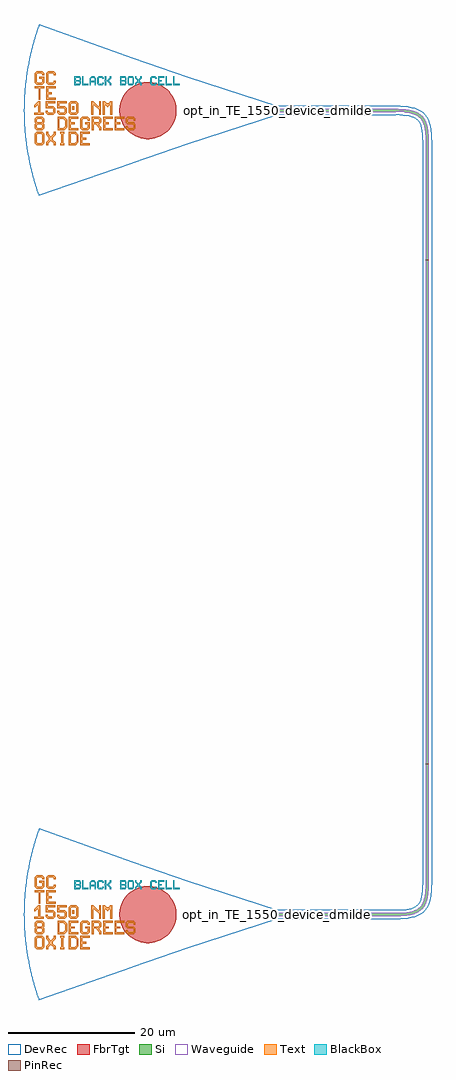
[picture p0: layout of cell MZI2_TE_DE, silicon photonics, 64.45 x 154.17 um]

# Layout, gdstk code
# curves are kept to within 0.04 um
import gdstk
lib = gdstk.Library(unit=1e-6, precision=1e-09)
def R(c, l, rs):  # rectangles x0, y0, x1, y1
    for r in rs: c.add(gdstk.rectangle(r[:2], r[2:], *l))
def P(c, l, *ps):  # polygons
    for p in ps: c.add(gdstk.Polygon(p, *l))
Si = (1, 0)
PinRec = (1, 10)
Waveguide = (1, 99)
Text = (10, 0)
DevRec = (68, 0)
FbrTgt = (81, 0)
BlackBox = (998, 0)

waveguide_16 = lib.new_cell('Waveguide$16')
R(waveguide_16, Si, [(64.775,-39.8,65.275,39.8)])
R(waveguide_16, Waveguide, [(64.775,-39.8,65.275,39.8)])
R(waveguide_16, DevRec, [(64.275,-39.8,65.775,39.8)])
waveguide_16.add(gdstk.FlexPath([(65.025,-39.79),(65.025,-39.81)], 0.5, ends="flush", simple_path=True, layer=1, datatype=10))  # PinRec
waveguide_16.add(gdstk.FlexPath([(65.025,39.79),(65.025,39.81)], 0.5, ends="flush", simple_path=True, layer=1, datatype=10))  # PinRec
waveguide_16.add(gdstk.Label('opt1', (65.025,-39.8), layer=1, texttype=10))
waveguide_16.add(gdstk.Label('opt2', (65.025,39.8), layer=1, texttype=10))
waveguide_16.add(gdstk.Label('Lumerical_INTERCONNECT_library=Design kits/EBeam', (64.925,-39.8), layer=68, texttype=0))
waveguide_16.add(gdstk.Label('Component=ebeam_wg_integral_1550', (65.125,-39.8), layer=68, texttype=0))
waveguide_16.add(gdstk.Label('cellName=Waveguide', (65.225,-39.8), layer=68, texttype=0))
waveguide_16.add(gdstk.Label('Spice_param:wg_length=0.000079600 wg_width=5e-07 points="[[65.025,-39.8],[65.025,39.8]]" radius=5e-06', (65.025,-39.8), layer=68, texttype=0))
waveguide_16.add(gdstk.Label('Length=79.600 (microns)', (64.425,-39.8), layer=68, texttype=0))
waveguide_16.add(gdstk.Label('waveguide_type=Strip TE 1550 nm, w=500 nm', (64.825,-39.8), layer=68, texttype=0))

text = lib.new_cell('TEXT')
P(text, BlackBox, [(0,0),(0,1.4),(0.8,1.4),(1,1.2),(0.2,1.2),(0.2,0.8),(0.7,0.8),(0.8,0.9),(0.8,1.1),(0.7,1.2),(1,1.2),(1,0.8),(0.9,0.7),(1,0.6),(0.2,0.6),(0.2,0.2),(0.7,0.2),(0.8,0.3),(0.8,0.5),(0.7,0.6),(1,0.6),(1,0.2),(0.8,0)],
  [(1.2,0),(1.2,1.4),(1.4,1.4),(1.4,0.2),(2.2,0.2),(2.2,0)],
  [(2.4,0),(2.4,1.1),(2.7,1.4),(3.1,1.4),(3.3,1.2),(2.8,1.2),(2.6,1),(2.6,0.7),(3.2,0.7),(3.2,1),(3,1.2),(3.3,1.2),(3.4,1.1),(3.4,0),(3.2,0),(3.2,0.5),(2.6,0.5),(2.6,0)],
  [(3.8,0),(3.6,0.2),(3.6,1.2),(3.8,1.4),(4.4,1.4),(4.6,1.2),(4.6,1),(4.4,1),(4.4,1.1),(4.3,1.2),(3.9,1.2),(3.8,1.1),(3.8,0.3),(3.9,0.2),(4.3,0.2),(4.4,0.3),(4.4,0.4),(4.6,0.4),(4.6,0.2),(4.4,0)],
  [(4.8,0),(4.8,1.4),(5,1.4),(5,0.8),(5.2,0.8),(5.6,1.2),(5.6,1.4),(5.8,1.4),(5.8,1.1),(5.4,0.7),(5.8,0.3),(5.8,0),(5.6,0),(5.6,0.2),(5.2,0.6),(5,0.6),(5,0)],
  [(7.2,0),(7.2,1.4),(8,1.4),(8.2,1.2),(7.4,1.2),(7.4,0.8),(7.9,0.8),(8,0.9),(8,1.1),(7.9,1.2),(8.2,1.2),(8.2,0.8),(8.1,0.7),(8.2,0.6),(7.4,0.6),(7.4,0.2),(7.9,0.2),(8,0.3),(8,0.5),(7.9,0.6),(8.2,0.6),(8.2,0.2),(8,0)],
  [(8.6,0),(8.4,0.2),(8.4,1.2),(8.6,1.4),(9.2,1.4),(9.4,1.2),(9.4,0.7),(9.2,0.7),(9.2,1.1),(9.1,1.2),(8.7,1.2),(8.6,1.1),(8.6,0.3),(8.7,0.2),(9.1,0.2),(9.2,0.3),(9.2,0.7),(9.4,0.7),(9.4,0.2),(9.2,0)],
  [(9.6,0),(9.6,0.3),(9.9,0.6),(9.9,0.8),(9.6,1.1),(9.6,1.4),(9.8,1.4),(9.8,1.2),(10.1,0.9),(10.4,1.2),(10.4,1.4),(10.6,1.4),(10.6,1.1),(10.3,0.8),(10.3,0.6),(10.6,0.3),(10.6,0),(10.4,0),(10.4,0.2),(10.1,0.5),(9.8,0.2),(9.8,0)],
  [(12.2,0),(12,0.2),(12,1.2),(12.2,1.4),(12.8,1.4),(13,1.2),(13,1),(12.8,1),(12.8,1.1),(12.7,1.2),(12.3,1.2),(12.2,1.1),(12.2,0.3),(12.3,0.2),(12.7,0.2),(12.8,0.3),(12.8,0.4),(13,0.4),(13,0.2),(12.8,0)],
  [(13.2,0),(13.2,1.4),(14.2,1.4),(14.2,1.2),(13.4,1.2),(13.4,0.8),(13.8,0.8),(13.8,0.6),(13.4,0.6),(13.4,0.2),(14.2,0.2),(14.2,0)],
  [(14.4,0),(14.4,1.4),(14.6,1.4),(14.6,0.2),(15.4,0.2),(15.4,0)],
  [(15.6,0),(15.6,1.4),(15.8,1.4),(15.8,0.2),(16.6,0.2),(16.6,0)])

gc_te_1550_8degoxide_bb = lib.new_cell('GC_TE_1550_8degOxide_BB')
R(gc_te_1550_8degoxide_bb, Text, [(-32.313,0.092,-32.013,0.692)])
P(gc_te_1550_8degoxide_bb, Text, [(-37.67,1.71),(-37.67,3.51),(-38.27,3.51),(-38.27,3.81),(-36.77,3.81),(-36.77,3.51),(-37.37,3.51),(-37.37,1.71)],
  [(-37.97,-5.49),(-38.27,-5.19),(-38.27,-3.69),(-37.97,-3.39),(-37.07,-3.39),(-36.77,-3.69),(-36.77,-4.44),(-37.07,-4.44),(-37.07,-3.84),(-37.22,-3.69),(-37.82,-3.69),(-37.97,-3.84),(-37.97,-5.04),(-37.82,-5.19),(-37.22,-5.19),(-37.07,-5.04),(-37.07,-4.44),(-36.77,-4.44),(-36.77,-5.19),(-37.07,-5.49)],
  [(-31.07,-5.49),(-31.07,-3.39),(-29.57,-3.39),(-29.57,-3.69),(-30.77,-3.69),(-30.77,-4.29),(-30.17,-4.29),(-30.17,-4.59),(-30.77,-4.59),(-30.77,-5.19),(-29.57,-5.19),(-29.57,-5.49)],
  [(-32.87,-3.09),(-32.87,-0.99),(-31.37,-0.99),(-31.37,-1.29),(-32.57,-1.29),(-32.57,-1.89),(-31.97,-1.89),(-31.97,-2.19),(-32.57,-2.19),(-32.57,-2.79),(-31.37,-2.79),(-31.37,-3.09)],
  [(-27.47,-3.09),(-27.47,-0.99),(-25.97,-0.99),(-25.97,-1.29),(-27.17,-1.29),(-27.17,-1.89),(-26.57,-1.89),(-26.57,-2.19),(-27.17,-2.19),(-27.17,-2.79),(-25.97,-2.79),(-25.97,-3.09)],
  [(-25.67,-3.09),(-25.67,-0.99),(-24.17,-0.99),(-24.17,-1.29),(-25.37,-1.29),(-25.37,-1.89),(-24.77,-1.89),(-24.77,-2.19),(-25.37,-2.19),(-25.37,-2.79),(-24.17,-2.79),(-24.17,-3.09)],
  [(-36.47,1.71),(-36.47,3.81),(-34.97,3.81),(-34.97,3.51),(-36.17,3.51),(-36.17,2.91),(-35.57,2.91),(-35.57,2.61),(-36.17,2.61),(-36.17,2.01),(-34.97,2.01),(-34.97,1.71)],
  [(-29.313,-0.658),(-29.313,1.442),(-29.013,1.442),(-28.263,0.692),(-28.113,0.692),(-28.113,1.442),(-27.813,1.442),(-27.813,-0.658),(-28.113,-0.658),(-28.113,0.092),(-28.863,0.842),(-29.013,0.842),(-29.013,-0.658)],
  [(-34.22,-5.49),(-34.22,-5.19),(-34.07,-5.19),(-34.07,-3.69),(-34.22,-3.69),(-34.22,-3.39),(-33.62,-3.39),(-33.62,-3.69),(-33.77,-3.69),(-33.77,-5.19),(-33.62,-5.19),(-33.62,-5.49)],
  [(-36.17,4.11),(-36.47,4.41),(-36.47,5.91),(-36.17,6.21),(-35.27,6.21),(-34.97,5.91),(-34.97,5.61),(-35.27,5.61),(-35.27,5.76),(-35.42,5.91),(-36.02,5.91),(-36.17,5.76),(-36.17,4.56),(-36.02,4.41),(-35.42,4.41),(-35.27,4.56),(-35.27,4.71),(-34.97,4.71),(-34.97,4.41),(-35.27,4.11)],
  [(-27.513,-0.658),(-27.513,1.442),(-27.213,1.442),(-26.913,1.142),(-26.613,1.142),(-26.313,1.442),(-26.013,1.442),(-26.013,-0.658),(-26.313,-0.658),(-26.313,0.842),(-26.463,0.842),(-26.763,0.542),(-27.063,0.842),(-27.213,0.842),(-27.213,-0.658)],
  [(-32.613,-0.658),(-32.913,-0.358),(-32.913,1.142),(-32.613,1.442),(-31.713,1.442),(-31.413,1.142),(-32.463,1.142),(-32.613,0.992),(-32.613,-0.208),(-32.463,-0.358),(-31.863,-0.358),(-31.713,-0.208),(-31.713,0.992),(-31.863,1.142),(-31.413,1.142),(-31.413,-0.358),(-31.713,-0.658)],
  [(-32.87,-5.49),(-32.87,-3.39),(-31.82,-3.39),(-31.52,-3.69),(-32.57,-3.69),(-32.57,-5.19),(-31.97,-5.19),(-31.67,-4.89),(-31.67,-3.99),(-31.97,-3.69),(-31.52,-3.69),(-31.37,-3.84),(-31.37,-5.04),(-31.82,-5.49)],
  [(-34.67,-3.09),(-34.67,-0.99),(-33.62,-0.99),(-33.32,-1.29),(-34.37,-1.29),(-34.37,-2.79),(-33.77,-2.79),(-33.47,-2.49),(-33.47,-1.59),(-33.77,-1.29),(-33.32,-1.29),(-33.17,-1.44),(-33.17,-2.64),(-33.62,-3.09)],
  [(-23.57,-3.09),(-23.87,-2.79),(-23.87,-2.49),(-23.57,-2.49),(-23.57,-2.64),(-23.42,-2.79),(-22.82,-2.79),(-22.67,-2.64),(-22.67,-2.34),(-22.82,-2.19),(-23.57,-2.19),(-23.87,-1.89),(-23.87,-1.29),(-23.57,-0.99),(-22.67,-0.99),(-22.37,-1.29),(-22.37,-1.59),(-22.67,-1.59),(-22.67,-1.44),(-22.82,-1.29),(-23.42,-1.29),(-23.57,-1.44),(-23.57,-1.74),(-23.42,-1.89),(-22.67,-1.89),(-22.37,-2.19),(-22.37,-2.79),(-22.67,-3.09)],
  [(-36.213,-0.658),(-36.513,-0.358),(-36.513,-0.058),(-36.213,-0.058),(-36.213,-0.208),(-36.063,-0.358),(-35.463,-0.358),(-35.313,-0.208),(-35.313,0.242),(-35.463,0.392),(-36.513,0.392),(-36.513,1.442),(-35.013,1.442),(-35.013,1.142),(-36.213,1.142),(-36.213,0.692),(-35.313,0.692),(-35.013,0.392),(-35.013,-0.358),(-35.313,-0.658)],
  [(-34.413,-0.658),(-34.713,-0.358),(-34.713,-0.058),(-34.413,-0.058),(-34.413,-0.208),(-34.263,-0.358),(-33.663,-0.358),(-33.513,-0.208),(-33.513,0.242),(-33.663,0.392),(-34.713,0.392),(-34.713,1.442),(-33.213,1.442),(-33.213,1.142),(-34.413,1.142),(-34.413,0.692),(-33.513,0.692),(-33.213,0.392),(-33.213,-0.358),(-33.513,-0.658)],
  [(-37.97,-3.09),(-38.27,-2.79),(-38.27,-2.19),(-38.12,-2.04),(-38.27,-1.89),(-38.27,-1.29),(-37.97,-0.99),(-37.07,-0.99),(-36.77,-1.29),(-37.82,-1.29),(-37.97,-1.44),(-37.97,-1.74),(-37.82,-1.89),(-37.22,-1.89),(-37.07,-1.74),(-37.07,-1.44),(-37.22,-1.29),(-36.77,-1.29),(-36.77,-1.89),(-36.92,-2.04),(-36.77,-2.19),(-37.82,-2.19),(-37.97,-2.34),(-37.97,-2.64),(-37.82,-2.79),(-37.22,-2.79),(-37.07,-2.64),(-37.07,-2.34),(-37.22,-2.19),(-36.77,-2.19),(-36.77,-2.79),(-37.07,-3.09)],
  [(-38.313,-0.658),(-38.313,-0.358),(-37.713,-0.358),(-37.713,0.842),(-37.863,0.842),(-38.163,0.542),(-38.313,0.542),(-38.313,0.842),(-37.713,1.442),(-37.413,1.442),(-37.413,-0.358),(-36.813,-0.358),(-36.813,-0.658)],
  [(-36.47,-5.49),(-36.47,-5.04),(-36.02,-4.59),(-36.02,-4.29),(-36.47,-3.84),(-36.47,-3.39),(-36.17,-3.39),(-36.17,-3.69),(-35.72,-4.14),(-35.27,-3.69),(-35.27,-3.39),(-34.97,-3.39),(-34.97,-3.84),(-35.42,-4.29),(-35.42,-4.59),(-34.97,-5.04),(-34.97,-5.49),(-35.27,-5.49),(-35.27,-5.19),(-35.72,-4.74),(-36.17,-5.19),(-36.17,-5.49)],
  [(-30.77,-3.09),(-31.07,-2.79),(-31.07,-1.29),(-30.77,-0.99),(-29.87,-0.99),(-29.57,-1.29),(-29.57,-1.59),(-29.87,-1.59),(-29.87,-1.44),(-30.02,-1.29),(-30.62,-1.29),(-30.77,-1.44),(-30.77,-2.64),(-30.62,-2.79),(-30.02,-2.79),(-29.87,-2.64),(-29.87,-2.19),(-30.32,-2.19),(-30.32,-1.89),(-29.57,-1.89),(-29.57,-2.79),(-29.87,-3.09)],
  [(-37.97,4.11),(-38.27,4.41),(-38.27,5.91),(-37.97,6.21),(-37.07,6.21),(-36.77,5.91),(-36.77,5.61),(-37.07,5.61),(-37.07,5.76),(-37.22,5.91),(-37.82,5.91),(-37.97,5.76),(-37.97,4.56),(-37.82,4.41),(-37.22,4.41),(-37.07,4.56),(-37.07,5.01),(-37.52,5.01),(-37.52,5.31),(-36.77,5.31),(-36.77,4.41),(-37.07,4.11)],
  [(-29.27,-3.09),(-29.27,-0.99),(-28.07,-0.99),(-27.77,-1.29),(-28.97,-1.29),(-28.97,-1.89),(-28.22,-1.89),(-28.07,-1.74),(-28.07,-1.44),(-28.22,-1.29),(-27.77,-1.29),(-27.77,-1.89),(-28.07,-2.19),(-28.07,-2.34),(-27.77,-2.64),(-27.77,-3.09),(-28.07,-3.09),(-28.07,-2.79),(-28.67,-2.19),(-28.97,-2.19),(-28.97,-3.09)])
P(gc_te_1550_8degoxide_bb, DevRec, [(-37.607,-13.5),(-38.627,-10.245),(-39.378,-6.832),(-39.647,-5.058),(-39.835,-3.274),(-39.969,0.224),(-39.812,3.541),(-39.331,7.097),(-38.557,10.505),(-37.546,13.669),(-22.8,8.353),(-14.109,5.36),(0,0.75),(0,-0.75),(-14.109,-5.36)])
P(gc_te_1550_8degoxide_bb, FbrTgt, [(-20.621,-4.5),(-21.495,-4.37),(-22.326,-4.073),(-23.084,-3.619),(-23.738,-3.026),(-24.264,-2.316),(-24.642,-1.518),(-24.857,-0.661),(-24.9,0.221),(-24.77,1.095),(-24.473,1.926),(-24.019,2.684),(-23.426,3.338),(-22.716,3.864),(-21.918,4.242),(-21.061,4.457),(-20.179,4.5),(-19.305,4.37),(-18.474,4.073),(-17.716,3.619),(-17.062,3.026),(-16.536,2.316),(-16.158,1.518),(-15.943,0.661),(-15.9,-0.221),(-16.03,-1.095),(-16.327,-1.926),(-16.781,-2.684),(-17.374,-3.338),(-18.084,-3.864),(-18.882,-4.242),(-19.739,-4.457)])
gc_te_1550_8degoxide_bb.add(gdstk.FlexPath([(-0.01,0),(0.01,0)], 0.5, ends="flush", simple_path=True, layer=1, datatype=10))  # PinRec
gc_te_1550_8degoxide_bb.add(gdstk.Reference(text, (-32,4)))
gc_te_1550_8degoxide_bb.add(gdstk.Label('opt1', (0,0), layer=1, texttype=10))
gc_te_1550_8degoxide_bb.add(gdstk.Label('Component=GC_TE_1550_8degOxide_BB', (-28,-5), layer=68, texttype=0))

waveguide_4 = lib.new_cell('Waveguide$4')
P(waveguide_4, Si, [(64.775,39.8),(64.758,59.245),(64.663,60.305),(64.472,61.157),(64.235,61.719),(63.848,62.239),(63.426,62.568),(62.89,62.821),(62.222,63),(61.232,63.127),(41.295,63.166),(41.295,63.666),(60.877,63.648),(61.989,63.547),(62.919,63.338),(63.686,62.996),(64.202,62.593),(64.606,62.076),(64.948,61.309),(65.157,60.379),(65.266,59.063),(65.275,39.8)])
P(waveguide_4, Waveguide, [(64.775,39.8),(64.758,59.245),(64.663,60.305),(64.472,61.157),(64.235,61.719),(63.848,62.239),(63.426,62.568),(62.89,62.821),(62.222,63),(61.232,63.127),(41.295,63.166),(41.295,63.666),(60.877,63.648),(61.989,63.547),(62.919,63.338),(63.686,62.996),(64.202,62.593),(64.606,62.076),(64.948,61.309),(65.157,60.379),(65.266,59.063),(65.275,39.8)])
P(waveguide_4, DevRec, [(64.275,39.8),(64.265,59.065),(64.1,60.609),(63.88,61.311),(63.583,61.791),(63.184,62.13),(62.601,62.39),(61.77,62.568),(60.675,62.655),(41.295,62.666),(41.295,64.166),(60.038,64.166),(61.376,64.119),(62.535,63.956),(63.535,63.638),(64.375,63.113),(64.723,62.765),(65.014,62.366),(65.43,61.443),(65.664,60.368),(65.765,59.117),(65.775,39.8)])
waveguide_4.add(gdstk.FlexPath([(65.025,39.81),(65.025,39.79)], 0.5, ends="flush", simple_path=True, layer=1, datatype=10))  # PinRec
waveguide_4.add(gdstk.FlexPath([(41.305,63.416),(41.285,63.416)], 0.5, ends="flush", simple_path=True, layer=1, datatype=10))  # PinRec
waveguide_4.add(gdstk.Label('opt1', (65.025,39.8), layer=1, texttype=10))
waveguide_4.add(gdstk.Label('opt2', (41.295,63.416), layer=1, texttype=10))
waveguide_4.add(gdstk.Label('Lumerical_INTERCONNECT_library=Design kits/EBeam', (64.925,39.8), layer=68, texttype=0))
waveguide_4.add(gdstk.Label('Component=ebeam_wg_integral_1550', (65.125,39.8), layer=68, texttype=0))
waveguide_4.add(gdstk.Label('cellName=Waveguide', (65.225,39.8), layer=68, texttype=0))
waveguide_4.add(gdstk.Label('Spice_param:wg_length=0.000045794 wg_width=5e-07 points="[[65.025,39.8],[65.025,63.416],[41.295,63.416]]" radius=5e-06', (65.025,39.8), layer=68, texttype=0))
waveguide_4.add(gdstk.Label('Length=45.794 (microns)', (64.425,39.8), layer=68, texttype=0))
waveguide_4.add(gdstk.Label('waveguide_type=Strip TE 1550 nm, w=500 nm', (64.825,39.8), layer=68, texttype=0))

waveguide_5 = lib.new_cell('Waveguide$5')
P(waveguide_5, Si, [(41.295,-63.834),(41.295,-63.334),(61.231,-63.296),(62.221,-63.169),(62.889,-62.99),(63.425,-62.737),(63.848,-62.407),(64.177,-61.985),(64.43,-61.449),(64.609,-60.781),(64.736,-59.791),(64.775,-39.8),(65.275,-39.8),(65.257,-59.436),(65.156,-60.548),(64.947,-61.478),(64.605,-62.245),(64.202,-62.761),(63.685,-63.165),(62.918,-63.507),(61.988,-63.716),(60.876,-63.817)])
P(waveguide_5, Waveguide, [(41.295,-63.834),(41.295,-63.334),(61.231,-63.296),(62.221,-63.169),(62.889,-62.99),(63.425,-62.737),(63.848,-62.407),(64.177,-61.985),(64.43,-61.449),(64.609,-60.781),(64.736,-59.791),(64.775,-39.8),(65.275,-39.8),(65.257,-59.436),(65.156,-60.548),(64.947,-61.478),(64.605,-62.245),(64.202,-62.761),(63.685,-63.165),(62.918,-63.507),(61.988,-63.716),(60.876,-63.817)])
P(waveguide_5, DevRec, [(41.295,-64.334),(41.295,-62.834),(60.674,-62.824),(61.769,-62.737),(62.6,-62.559),(63.183,-62.299),(63.582,-61.96),(63.879,-61.48),(64.099,-60.778),(64.264,-59.234),(64.275,-39.8),(65.775,-39.8),(65.764,-59.286),(65.663,-60.537),(65.429,-61.612),(65.013,-62.535),(64.722,-62.934),(64.374,-63.282),(63.534,-63.807),(62.534,-64.125),(61.375,-64.288),(60.025,-64.334)])
waveguide_5.add(gdstk.FlexPath([(41.305,-63.584),(41.285,-63.584)], 0.5, ends="flush", simple_path=True, layer=1, datatype=10))  # PinRec
waveguide_5.add(gdstk.FlexPath([(65.025,-39.81),(65.025,-39.79)], 0.5, ends="flush", simple_path=True, layer=1, datatype=10))  # PinRec
waveguide_5.add(gdstk.Label('opt1', (41.295,-63.584), layer=1, texttype=10))
waveguide_5.add(gdstk.Label('opt2', (65.025,-39.8), layer=1, texttype=10))
waveguide_5.add(gdstk.Label('Lumerical_INTERCONNECT_library=Design kits/EBeam', (41.295,-63.684), layer=68, texttype=0))
waveguide_5.add(gdstk.Label('Component=ebeam_wg_integral_1550', (41.295,-63.484), layer=68, texttype=0))
waveguide_5.add(gdstk.Label('cellName=Waveguide', (41.295,-63.384), layer=68, texttype=0))
waveguide_5.add(gdstk.Label('Spice_param:wg_length=0.000045962 wg_width=5e-07 points="[[41.295,-63.584],[65.025,-63.584],[65.025,-39.8]]" radius=5e-06', (41.295,-63.584), layer=68, texttype=0))
waveguide_5.add(gdstk.Label('Length=45.962 (microns)', (41.295,-64.184), layer=68, texttype=0))
waveguide_5.add(gdstk.Label('waveguide_type=Strip TE 1550 nm, w=500 nm', (41.295,-63.784), layer=68, texttype=0))

mzi2_te_de = lib.new_cell('MZI2_TE_DE')
mzi2_te_de.add(gdstk.Reference(waveguide_16, (0,0)))
mzi2_te_de.add(gdstk.Reference(gc_te_1550_8degoxide_bb, (41.295,-63.584)))
mzi2_te_de.add(gdstk.Reference(gc_te_1550_8degoxide_bb, (41.295,63.416)))
mzi2_te_de.add(gdstk.Reference(waveguide_4, (0,0)))
mzi2_te_de.add(gdstk.Reference(waveguide_5, (0,0)))
mzi2_te_de.add(gdstk.Label('opt_in_TE_1550_device_dmildenb_MZI52DE-U', (41.296,63.415), layer=10, texttype=0))
mzi2_te_de.add(gdstk.Label('opt_in_TE_1550_device_dmildenb_MZI52DE-L', (41.285,-63.584), layer=10, texttype=0))

lib.write_gds('MZI2_TE_DE.gds')
